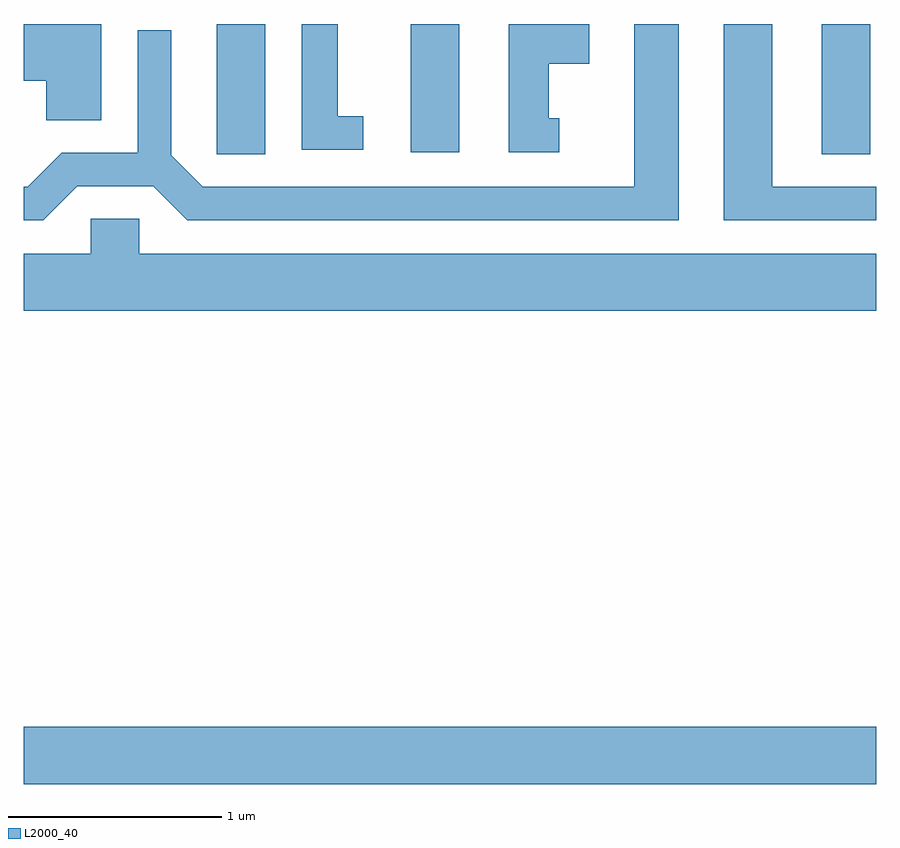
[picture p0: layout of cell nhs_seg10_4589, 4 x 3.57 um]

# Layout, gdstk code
import gdstk
lib = gdstk.Library(unit=1e-6, precision=1e-09)
def R(c, l, rs):  # rectangles x0, y0, x1, y1
    for r in rs: c.add(gdstk.rectangle(r[:2], r[2:], *l))
def P(c, l, *ps):  # polygons
    for p in ps: c.add(gdstk.Polygon(p, *l))
L2000_40 = (2000, 40)

nhs_seg10_4589 = lib.new_cell('nhs_seg10_4589')
R(nhs_seg10_4589, L2000_40, [(319.611,2184.956,323.611,2185.224), (320.516,2187.911,320.744,2188.522), (323.356,2187.911,323.584,2188.522), (321.426,2187.921,321.654,2188.522)])
P(nhs_seg10_4589, L2000_40, [(323.611,2187.759),(323.124,2187.759),(323.124,2188.522),(322.896,2188.522),(322.896,2187.601),(323.611,2187.601)],
  [(319.974,2188.522),(319.611,2188.522),(319.611,2188.256),(319.716,2188.256),(319.716,2188.071),(319.974,2188.071)],
  [(319.862,2187.761),(320.219,2187.761),(320.379,2187.601),(322.684,2187.601),(322.684,2188.522),(322.476,2188.522),(322.476,2187.759),(320.452,2187.759),(320.304,2187.907),(320.304,2188.493),(320.146,2188.493),(320.146,2187.919),(319.789,2187.919),(319.629,2187.759),(319.611,2187.759),(319.611,2187.601),(319.702,2187.601)],
  [(321.203,2188.089),(321.084,2188.089),(321.084,2188.522),(320.916,2188.522),(320.916,2187.931),(321.203,2187.931)],
  [(322.123,2188.079),(322.074,2188.079),(322.074,2188.336),(322.264,2188.336),(322.264,2188.522),(321.886,2188.522),(321.886,2187.921),(322.123,2187.921)],
  [(323.611,2187.444),(320.154,2187.444),(320.154,2187.609),(319.926,2187.609),(319.926,2187.444),(319.611,2187.444),(319.611,2187.176),(323.611,2187.176)])

lib.write_gds('nhs_seg10_4589.gds')
